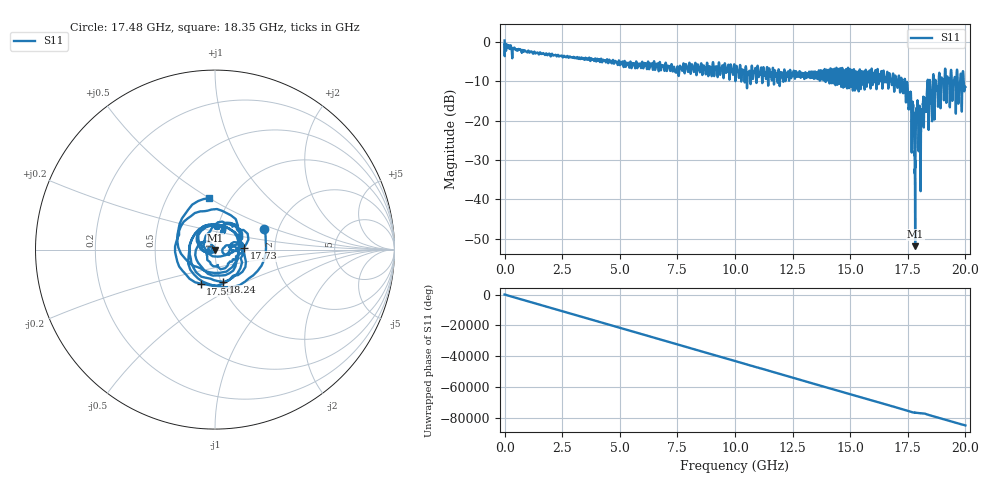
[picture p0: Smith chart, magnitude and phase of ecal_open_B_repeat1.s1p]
! MS46122B
! 2250307/22442219
! 7/23/2025 7:59:32 AM
! C:\USERS\SPARKY\DOCUMENTS\VNA_DATA\JULY23_2025\3K\ECAL_OPEN_B_REPEAT1.S1P
! CHANNEL.1
! TR.MEASUREMENT
! RAW.DATA
# GHZ S RI R 50.0
! FREQ.GHZ  S11RE  S11IM
!; PortSelection: Port_1
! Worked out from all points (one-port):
!   10001 points, 1 MHz to 20 GHz, reference 50 ohm
!   lowest |S11| = -51.9 dB at 17.82 GHz (marker M1), VSWR 1.01, Z = 50 - j0.252 ohm
!   |S11| at or under -10 dB: 17.38 GHz to 18.36 GHz (977 MHz wide, 5.47 % of centre); 18.46 GHz to 18.59 GHz (124.6 MHz wide, 0.672 % of centre); 18.71 GHz to 18.84 GHz (129.7 MHz wide, 0.691 % of centre) (the widest 3 of 63)
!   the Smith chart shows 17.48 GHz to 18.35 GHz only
!   S11 on the Smith chart (normalised r, x): 17.48 GHz: 1.69, +0.43; 17.59 GHz: 0.80, -0.32; 17.73 GHz: 1.38, +0.03; 18.24 GHz: 1.03, -0.38; 18.35 GHz: 0.79, +0.50
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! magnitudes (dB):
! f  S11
! 1 MHz  0.4
! 2.501 GHz  -3.7
! 5.001 GHz  -5.8
! 7.501 GHz  -6.2
! 10 GHz  -8.0
! 10.6 GHz  -8.0
! 10.8 GHz  -7.8
! 12.5 GHz  -8.4
! 15 GHz  -7.1
! 16.78 GHz  -9.8
! 17.29 GHz  -13.0
! 17.48 GHz  -10.5
! 17.5 GHz  -12.2
! 17.55 GHz  -17.1
! 17.59 GHz  -13.7
! 17.68 GHz  -21.8
! 17.73 GHz  -15.8
! 17.82 GHz  -51.9
! 17.89 GHz  -18.5
! 17.94 GHz  -17.3
! 18.05 GHz  -29.4
! 18.24 GHz  -14.6
! 18.35 GHz  -10.8
! 18.42 GHz  -15.3
! 18.48 GHz  -12.3
! 18.53 GHz  -15.6
! 19.05 GHz  -11.3
! 20 GHz  -11.5
